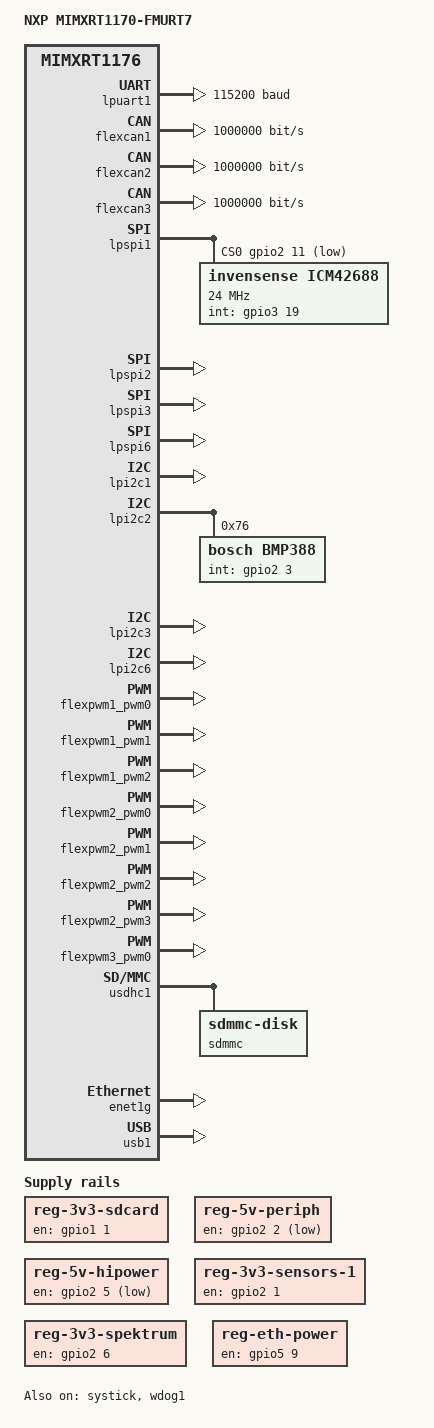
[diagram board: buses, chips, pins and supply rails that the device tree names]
/*
 * Copyright 2021-22, NXP
 *
 * SPDX-License-Identifier: Apache-2.0
 */

/dts-v1/;

#include <nxp/nxp_rt11xx_cm7.dtsi>
#include "mimxrt1170_fmurt7.dtsi"

/ {
	model = "NXP MIMXRT1170-FMURT7";
	compatible = "nxp,mimxrt1176";

	aliases {
		led0 = &green_led;
		led1 = &red_led;
		watchdog0 = &wdog1;
		sdhc0 = &usdhc1;
		gps1 = &lpuart2;
		telem1 = &lpuart3;
		telem4-gps2 = &lpuart5;
	};

	chosen {
		zephyr,sram = &ocram1; /* TODO Merge with other OCRAM */
		zephyr,sram1 = &ocram2; /* TODO Merge with other OCRAM */
		zephyr,dtcm = &dtcm;
		zephyr,itcm = &itcm;
		zephyr,console = &lpuart1;
		zephyr,shell-uart = &lpuart1;
		zephyr,canbus = &flexcan1;
		zephyr,flash-controller = &mx25um51345g;
		zephyr,flash = &mx25um51345g;
		zephyr,code-partition = &slot0_partition;
	};

	/* This regulator controls VDD_3V3_SD_CARD onboard supply */
	reg-3v3-sdcard {
		pinctrl-0 = <&pinmux_regulator>;
		pinctrl-names = "default";
		compatible = "regulator-fixed";
		regulator-name = "reg-3v3-sdcard";
		enable-gpios = <&gpio1 1 GPIO_ACTIVE_HIGH>;
		regulator-always-on;
		status = "okay";
	};

	/* This regulator controls VDD_5V_PERIPH onboard supply */
	reg-5v-periph {
		pinctrl-0 = <&pinmux_regulator>;
		pinctrl-names = "default";
		compatible = "regulator-fixed";
		regulator-name = "reg-5v-periph";
		enable-gpios = <&gpio2 2 GPIO_ACTIVE_LOW>;
		regulator-always-on;
		status = "okay";
	};

	/* This regulator controls VDD_5V_HIPOWER onboard supply */
	reg-5v-hipower {
		pinctrl-0 = <&pinmux_regulator>;
		pinctrl-names = "default";
		compatible = "regulator-fixed";
		regulator-name = "reg-5v-hipower";
		enable-gpios = <&gpio2 5 GPIO_ACTIVE_LOW>;
		regulator-always-on;
		status = "okay";
	};

	/* This regulator controls the VDD_3V3_SENSORS1 onboard supply. */
	reg-3v3-sensors-1 {
		pinctrl-0 = <&pinmux_regulator>;
		pinctrl-names = "default";
		compatible = "regulator-fixed";
		regulator-name = "reg-3v3-sensors-1";
		enable-gpios = <&gpio2 1 GPIO_ACTIVE_HIGH>;
		startup-delay-us = <2000>;
		regulator-always-on;
		status = "okay";
	};

	/* This regulator controls the VDD_3V3_SENSORS2 onboard supply. */
	reg-3v3-sensors-2 {
		pinctrl-0 = <&pinmux_regulator>;
		pinctrl-names = "default";
		compatible = "regulator-fixed";
		regulator-name = "reg-3v3-sensors-1";
		enable-gpios = <&gpio1 22 GPIO_ACTIVE_HIGH>;
		startup-delay-us = <2000>;
		regulator-always-on;
		status = "okay";
	};

	/* This regulator controls the VDD_3V3_SENSORS3 onboard supply. */
	reg-3v3-sensors-3 {
		pinctrl-0 = <&pinmux_regulator>;
		pinctrl-names = "default";
		compatible = "regulator-fixed";
		regulator-name = "reg-3v3-sensors-1";
		enable-gpios = <&gpio1 14 GPIO_ACTIVE_HIGH>;
		startup-delay-us = <2000>;
		regulator-always-on;
		status = "okay";
	};

	/* This regulator controls the VDD_3V3_SENSORS4 onboard supply. */
	reg-3v3-sensors-4 {
		pinctrl-0 = <&pinmux_regulator>;
		pinctrl-names = "default";
		compatible = "regulator-fixed";
		regulator-name = "reg-3v3-sensors-1";
		enable-gpios = <&gpio2 4 GPIO_ACTIVE_HIGH>;
		startup-delay-us = <2000>;
		regulator-always-on;
		status = "okay";
	};

	/* This regulator controls VDD_3V3_SPEKTRUM onboard supply */
	reg-3v3-spektrum {
		pinctrl-0 = <&pinmux_regulator>;
		pinctrl-names = "default";
		compatible = "regulator-fixed";
		regulator-name = "reg-3v3-spektrum";
		enable-gpios = <&gpio2 6 GPIO_ACTIVE_HIGH>;
		regulator-always-on;
		status = "okay";
	};

	/* This regulator controls ETH_VDD_3V3 supply to power up the TJA1103 PHY */
	reg-eth-power {
		pinctrl-0 = <&pinmux_regulator>;
		pinctrl-names = "default";
		compatible = "regulator-fixed";
		regulator-name = "reg-eth-power";
		enable-gpios = <&gpio5 9 GPIO_ACTIVE_HIGH>;
		regulator-always-on;
		status = "okay";
	};
};


&gpio1 {
	status = "okay";
};

&gpio2 {
	status = "okay";
};

&gpio3 {
	status = "okay";
};

&gpio4 {
	status = "okay";
};

&gpio5 {
	status = "okay";
};

&gpio6 {
	status = "okay";
};

&gpio7 {
	status = "okay";
};

&gpio8 {
	status = "okay";
};

&gpio9 {
	status = "okay";
};

&lpuart1 {
	status = "okay";
	current-speed = <115200>;
};


&flexcan1 {
	status = "okay";
	pinctrl-0 = <&pinmux_flexcan1>;
	pinctrl-names = "default";
	bus-speed = <1000000>;
	bus-speed-data = <4000000>;
	can-transceiver {
		max-bitrate = <5000000>;
	};
};

&flexcan2 {
	status = "okay";
	pinctrl-0 = <&pinmux_flexcan2>;
	pinctrl-names = "default";
	bus-speed = <1000000>;
	bus-speed-data = <4000000>;
	can-transceiver {
		max-bitrate = <5000000>;
	};
};

&flexcan3 {
	status = "okay";
	pinctrl-0 = <&pinmux_flexcan3>;
	pinctrl-names = "default";
	bus-speed = <1000000>;
	bus-speed-data = <4000000>;
	can-transceiver {
		max-bitrate = <5000000>;
	};
};

&lpspi1 {
	status = "okay";
	cs-gpios =<&gpio2 11 GPIO_ACTIVE_LOW>;

	icm42688: icm42688p@0 {
		compatible = "invensense,icm42688";
		reg = <0>;
		int-gpios = <&gpio3 19 GPIO_ACTIVE_HIGH>;
		spi-max-frequency = <24000000>;
		accel-hz = <32000>;
		accel-fs = <16>;
		gyro-hz = <32000>;
		gyro-fs = <2000>;
	};
};

&lpspi2 {
	status = "okay";
};

&lpspi3 {
	status = "okay";
};

&lpspi6 {
	status = "okay";
};

&lpi2c1 {
	status = "okay";
};

&lpi2c2 {
	status = "okay";

	bmp388: bmp388@76 {
		compatible = "bosch,bmp388";
		int-gpios = <&gpio2 3 GPIO_ACTIVE_HIGH>;
		reg = <0x76>;
		status = "okay";
		odr = "50";
		osr-press = <4>;
		osr-temp = <2>;
	};
};

&lpi2c3 {
	status = "okay";
};

&lpi2c6 {
	status = "okay";
};

&flexpwm1_pwm0 {
	status = "okay";
	pinctrl-0 = <&pinmux_flexpwm_fmu_ch1>;
	pinctrl-names = "default";
	nxp,prescaler = <64>;
};

&flexpwm1_pwm1 {
	status = "okay";
	pinctrl-0 = <&pinmux_flexpwm_fmu_ch2>;
	pinctrl-names = "default";
	nxp,prescaler = <64>;
};

&flexpwm1_pwm2	{
	status = "okay";
	pinctrl-0 = <&pinmux_flexpwm_fmu_ch3>;
	pinctrl-names = "default";
	nxp,prescaler = <64>;
};

&flexpwm2_pwm0	{
	status = "okay";
	pinctrl-0 = <&pinmux_flexpwm_fmu_ch4>;
	pinctrl-names = "default";
	nxp,prescaler = <64>;
};

&flexpwm2_pwm1	{
	status = "okay";
	pinctrl-0 = <&pinmux_flexpwm_fmu_ch5>;
	pinctrl-names = "default";
	nxp,prescaler = <64>;
};

&flexpwm2_pwm2	{
	status = "okay";
	pinctrl-0 = <&pinmux_flexpwm_fmu_ch6>;
	pinctrl-names = "default";
	nxp,prescaler = <64>;
};

&flexpwm2_pwm3	{
	status = "okay";
	pinctrl-0 = <&pinmux_flexpwm_fmu_ch7>;
	pinctrl-names = "default";
	nxp,prescaler = <64>;
};

&flexpwm3_pwm0	{
	status = "okay";
	pinctrl-0 = <&pinmux_flexpwm_fmu_ch8>;
	pinctrl-names = "default";
	nxp,prescaler = <64>;
};

&usdhc1 {
	status = "okay";
	sdmmc {
		compatible = "zephyr,sdmmc-disk";
		status = "okay";
	};
};

&edma0 {
	status = "okay";
};

/* GPT and Systick are enabled. If power management is enabled, the GPT
 * timer will be used instead of systick, as allows the core clock to
 * be gated.
 */
&gpt_hw_timer {
	status = "disabled";
};

&systick {
	status = "okay";
};

&wdog1 {
	status = "okay";
};

&enet1g {
	status = "okay";
	int-gpios = <&gpio5 10 GPIO_ACTIVE_HIGH>;
};

zephyr_udc0: &usb1 {
	status = "okay";
};
